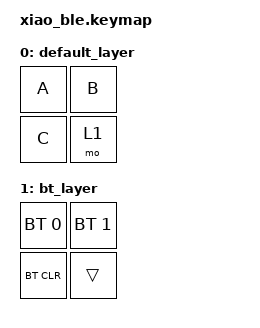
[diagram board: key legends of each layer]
#include <behaviors.dtsi>
#include <dt-bindings/zmk/keys.h>
#include <dt-bindings/zmk/bt.h>

/ {
    keymap {
        compatible = "zmk,keymap";

        default_layer {
            bindings = <
                &kp A      &kp B
                &kp C      &mo 1
            >;
        };

        bt_layer {
            bindings = <
                &bt BT_SEL 0  &bt BT_SEL 1
                &bt BT_CLR    &trans
            >;
        };
    };
};
